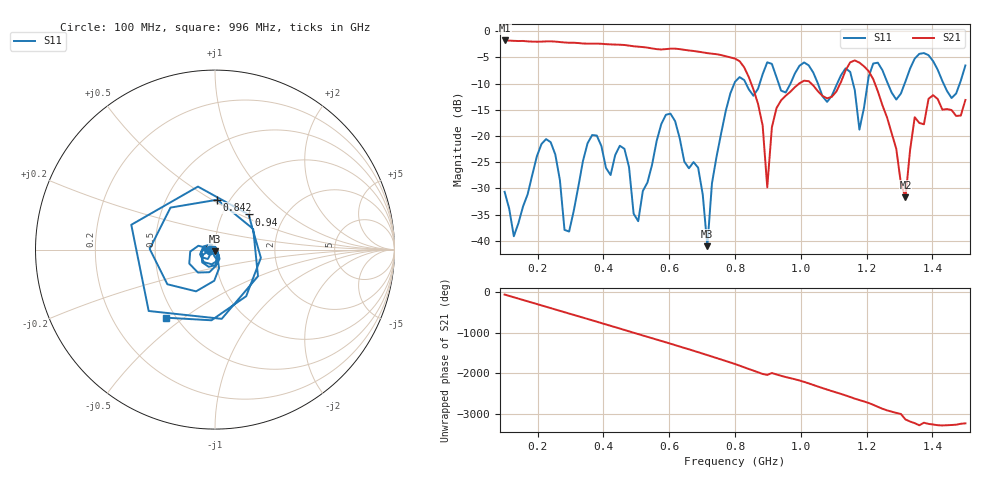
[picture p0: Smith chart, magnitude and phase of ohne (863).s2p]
! NanoVNA-App
! Date: 2025-09-25 14:27:31
! Start: 100MHz Stop: 1,5GHz Points: 101
! S-Parameter data: F S11 S21 S12 S22
# Hz S RI R 50
!  Frequency  S11_Real  S11_Imag  S21_Real  S21_Imag  S12_Real  S12_Imag  S22_Real  S22_Imag
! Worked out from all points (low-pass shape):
!   101 points, 100 MHz to 1.5 GHz, reference 50 ohm
!   highest |S21| = -1.79 dB at 100 MHz (marker M1); lowest = -31.7 dB at 1.318 GHz (marker M2)
!   |S21| within 3 dB of the highest: start of sweep to 771.5 MHz
!   lowest |S11| = -41.0 dB at 716 MHz (marker M3), VSWR 1.02, Z = 49.9 - j0.879 ohm
!   |S11| at or under -10 dB: start of sweep to 797.9 MHz; 833.2 MHz to 875.1 MHz (41.86 MHz wide, 4.9 % of centre); 1.052 GHz to 1.111 GHz (58.67 MHz wide, 5.43 % of centre) (the widest 3 of 7)
!   S12 and S22 are empty: the file has one direction only
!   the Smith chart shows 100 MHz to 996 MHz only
!   S11 on the Smith chart (normalised r, x): 100 MHz: 0.94, -0.01; 842 MHz: 0.88, +0.53; 940 MHz: 1.33, +0.56; 996 MHz: 0.44, -0.43
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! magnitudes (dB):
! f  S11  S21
! 100 MHz  -30.6  -1.8
! 128 MHz  -39.1  -1.9
! 226 MHz  -20.6  -2.0
! 296 MHz  -38.2  -2.2
! 338 MHz  -24.8  -2.4
! 464 MHz  -22.4  -2.7
! 506 MHz  -36.2  -3.0
! 576 MHz  -17.7  -3.5
! 688 MHz  -26.0  -3.9
! 716 MHz  -41.0  -4.2
! 800 MHz  -9.7  -5.3
! 842 MHz  -11.1  -8.8
! 898 MHz  -6.0  -29.8
! 940 MHz  -11.4  -13.2
! 996 MHz  -6.6  -9.9
! 1.038 GHz  -7.9  -10.4
! 1.178 GHz  -18.8  -6.0
! 1.22 GHz  -6.2  -9.2
! 1.276 GHz  -11.7  -19.5
! 1.318 GHz  -9.6  -31.7
! 1.346 GHz  -5.3  -16.4
! 1.5 GHz  -6.6  -13.1
